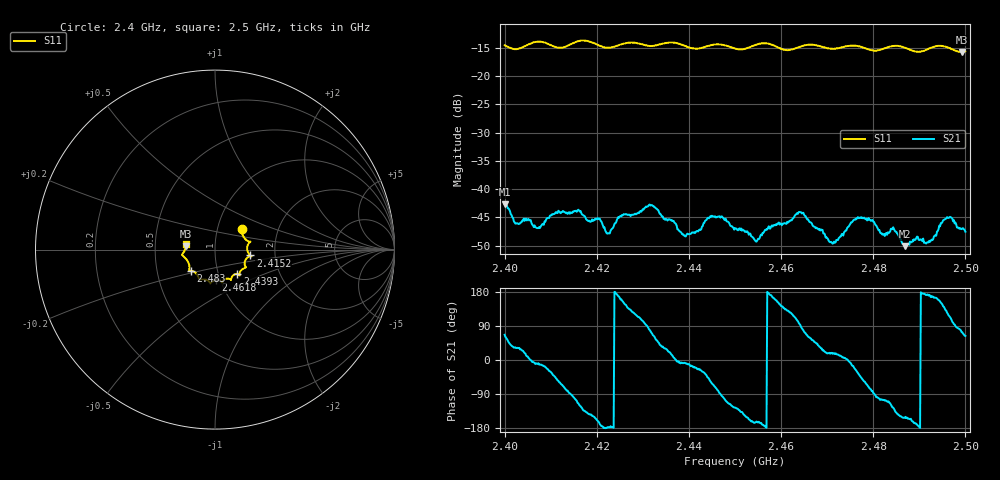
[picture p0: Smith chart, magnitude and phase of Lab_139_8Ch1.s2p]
# Hz S RI R 50
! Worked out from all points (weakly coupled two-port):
!   601 points, 2.4 GHz to 2.5 GHz, reference 50 ohm
!   highest |S21| = -42.67 dB at 2.4 GHz (marker M1); lowest = -50.1 dB at 2.4868 GHz (marker M2)
!   lowest |S11| = -15.7 dB at 2.4992 GHz (marker M3), VSWR 1.39, Z = 36 + j1.35 ohm
!   |S11| at or under -10 dB: start of sweep to end of sweep
!   S12 and S22 are empty: the file has one direction only
!   S11 on the Smith chart (normalised r, x): 2.4 GHz: 1.31, +0.31; 2.4152 GHz: 1.48, -0.10; 2.4393 GHz: 1.23, -0.35; 2.4618 GHz: 0.95, -0.34; 2.483 GHz: 0.74, -0.18; 2.5 GHz: 0.72, +0.05
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2.4e9  0.1503 0.1135  0.00293 0.00675  0 0  0 0
2.407167e9  0.198 0.0441  0.00444 -0.000807  0 0  0 0
2.415167e9  0.1964 -0.0327  -0.00118 -0.0063  0 0  0 0
2.416667e9  0.2039 -0.0378  -0.00347 -0.00501  0 0  0 0
2.4225e9  0.1668 -0.0644  -0.00407 -0.000205  0 0  0 0
2.4255e9  0.1691 -0.0937  -0.00542 0.00235  0 0  0 0
2.433333e9  0.1369 -0.1318  0.00445 0.00475  0 0  0 0
2.439333e9  0.1251 -0.1354  0.00376 -0.000608  0 0  0 0
2.445167e9  0.0889 -0.1682  0.00252 -0.00513  0 0  0 0
2.45e9  0.0696 -0.1618  -0.00263 -0.00365  0 0  0 0
2.454667e9  0.0395 -0.1867  -0.00326 -0.00104  0 0  0 0
2.461833e9  0.00401 -0.1711  -0.00306 0.00425  0 0  0 0
2.466667e9  -0.0263 -0.1889  0.00299 0.00396  0 0  0 0
2.471167e9  -0.0513 -0.1676  0.00315 0.000938  0 0  0 0
2.477e9  -0.0901 -0.1604  0.00423 -0.00357  0 0  0 0
2.483e9  -0.1356 -0.1181  -0.00131 -0.00371  0 0  0 0
2.483333e9  -0.1383 -0.118  -0.00134 -0.00384  0 0  0 0
2.486833e9  -0.1432 -0.1084  -0.00277 -0.00144  0 0  0 0
2.4925e9  -0.1745 -0.0385  -0.00338 0.000845  0 0  0 0
2.496333e9  -0.1781 -0.0202  -0.00261 0.00489  0 0  0 0
2.499167e9  -0.163 0.0182  0.00124 0.00424  0 0  0 0
2.5e9  -0.163 0.0332  0.00188 0.00375  0 0  0 0
